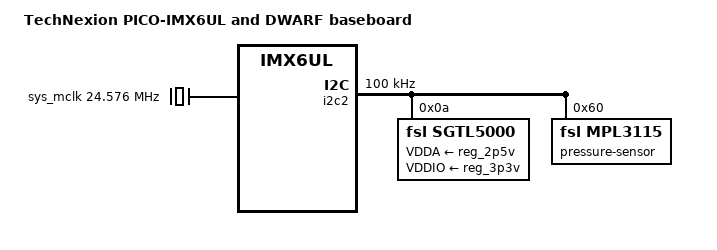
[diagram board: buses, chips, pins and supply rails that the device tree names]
// SPDX-License-Identifier: (GPL-2.0 OR MIT)
//
// Copyright 2015 Technexion Ltd.
//
// Author: Wig Cheng  <wig.cheng@technexion.com>
//	   Richard Hu <richard.hu@technexion.com>
//	   Tapani Utriainen <tapani@technexion.com>
/dts-v1/;

#include "imx6ul-pico.dtsi"
/ {
	model = "TechNexion PICO-IMX6UL and DWARF baseboard";
	compatible = "technexion,imx6ul-pico-dwarf", "fsl,imx6ul";

	sound {
		compatible = "fsl,imx-audio-sgtl5000";
		model = "imx6ul-sgtl5000";
		audio-cpu = <&sai1>;
		audio-codec = <&sgtl5000>;
		audio-routing =
			"LINE_IN", "Line In Jack",
			"MIC_IN", "Mic Jack",
			"Mic Jack", "Mic Bias",
			"Headphone Jack", "HP_OUT";
	};

	sys_mclk: clock-sys-mclk {
		compatible = "fixed-clock";
		#clock-cells = <0>;
		clock-frequency = <24576000>;
	};
};

&i2c2 {
	clock-frequency = <100000>;
	pinctrl-names = "default";
	pinctrl-0 = <&pinctrl_i2c2>;
	status = "okay";

	sgtl5000: audio-codec@a {
		reg = <0x0a>;
		compatible = "fsl,sgtl5000";
		#sound-dai-cells = <0>;
		clocks = <&sys_mclk>;
		VDDA-supply = <&reg_2p5v>;
		VDDIO-supply = <&reg_3p3v>;
	};

	pressure-sensor@60 {
		compatible = "fsl,mpl3115";
		reg = <0x60>;
	};
};
